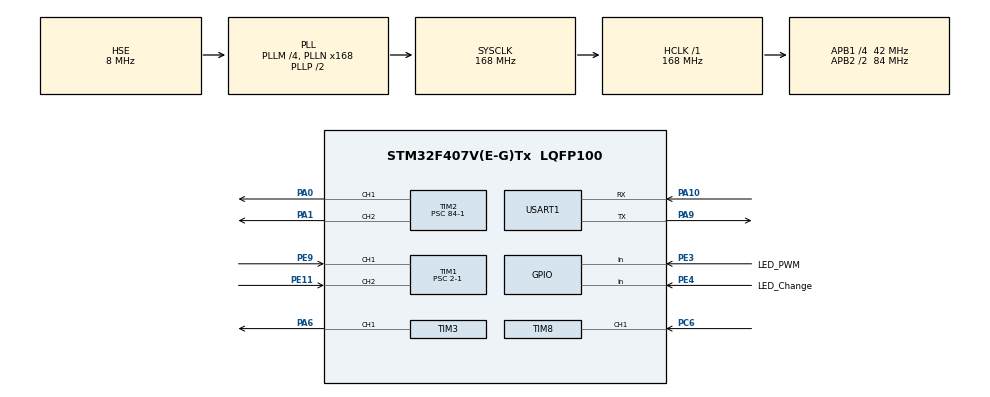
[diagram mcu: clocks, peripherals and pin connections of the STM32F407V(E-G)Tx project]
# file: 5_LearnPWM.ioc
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Dma.Request0=USART1_RX
Dma.Request1=USART1_TX
Dma.USART1_RX.0.Direction=DMA_PERIPH_TO_MEMORY
Dma.USART1_RX.0.FIFOMode=DMA_FIFOMODE_DISABLE
Dma.USART1_RX.0.Instance=DMA2_Stream2
Dma.USART1_RX.0.MemDataAlignment=DMA_MDATAALIGN_BYTE
Dma.USART1_RX.0.MemInc=DMA_MINC_ENABLE
Dma.USART1_RX.0.Mode=DMA_NORMAL
Dma.USART1_RX.0.PeriphDataAlignment=DMA_PDATAALIGN_BYTE
Dma.USART1_RX.0.PeriphInc=DMA_PINC_DISABLE
Dma.USART1_RX.0.Priority=DMA_PRIORITY_LOW
Dma.USART1_TX.1.Direction=DMA_MEMORY_TO_PERIPH
Dma.USART1_TX.1.FIFOMode=DMA_FIFOMODE_DISABLE
Dma.USART1_TX.1.Instance=DMA2_Stream7
Dma.USART1_TX.1.MemDataAlignment=DMA_MDATAALIGN_BYTE
Dma.USART1_TX.1.MemInc=DMA_MINC_ENABLE
Dma.USART1_TX.1.Mode=DMA_NORMAL
Dma.USART1_TX.1.PeriphDataAlignment=DMA_PDATAALIGN_BYTE
Dma.USART1_TX.1.PeriphInc=DMA_PINC_DISABLE
Dma.USART1_TX.1.Priority=DMA_PRIORITY_LOW
Mcu.Family=STM32F4
Mcu.Name=STM32F407V(E-G)Tx
Mcu.Package=LQFP100
NVIC.DMA2_Stream2_IRQn=true\:0\:0\:false\:false\:true\:false\:true\:true
NVIC.DMA2_Stream7_IRQn=true\:0\:0\:false\:false\:true\:false\:true\:true
NVIC.PriorityGroup=NVIC_PRIORITYGROUP_4
NVIC.TIM8_CC_IRQn=true\:0\:0\:false\:false\:true\:true\:true\:true
NVIC.USART1_IRQn=true\:0\:0\:false\:false\:true\:false\:true\:true
PA0-WKUP.Signal=S_TIM2_CH1_ETR
PA1.Signal=S_TIM2_CH2
PA10.Mode=Asynchronous
PA10.Signal=USART1_RX
PA13.Mode=Serial_Wire
PA13.Signal=SYS_JTMS-SWDIO
PA14.Mode=Serial_Wire
PA14.Signal=SYS_JTCK-SWCLK
PA6.Signal=S_TIM3_CH1
PA9.Mode=Asynchronous
PA9.Signal=USART1_TX
PC14-OSC32_IN.Mode=LSE-External-Oscillator
PC14-OSC32_IN.Signal=RCC_OSC32_IN
PC15-OSC32_OUT.Mode=LSE-External-Oscillator
PC15-OSC32_OUT.Signal=RCC_OSC32_OUT
PC6.Signal=S_TIM8_CH1
PE11.Signal=S_TIM1_CH2
PE3.GPIO_Label=LED_PWM
PE3.GPIO_PuPd=GPIO_PULLUP
PE3.Signal=GPIO_Input
PE4.GPIO_Label=LED_Change
PE4.GPIO_PuPd=GPIO_PULLUP
PE4.Signal=GPIO_Input
PE9.Signal=S_TIM1_CH1
PH0-OSC_IN.Mode=HSE-External-Oscillator
PH0-OSC_IN.Signal=RCC_OSC_IN
PH1-OSC_OUT.Mode=HSE-External-Oscillator
PH1-OSC_OUT.Signal=RCC_OSC_OUT
ProjectManager.HeapSize=0x200
ProjectManager.StackSize=0x400
ProjectManager.TargetToolchain=MDK-ARM V5.32
RCC.48MHZClocksFreq_Value=84000000
RCC.AHBFreq_Value=168000000
RCC.APB1CLKDivider=RCC_HCLK_DIV4
RCC.APB1Freq_Value=42000000
RCC.APB1TimFreq_Value=84000000
RCC.APB2CLKDivider=RCC_HCLK_DIV2
RCC.APB2Freq_Value=84000000
RCC.APB2TimFreq_Value=168000000
RCC.CortexFreq_Value=168000000
RCC.HCLKFreq_Value=168000000
RCC.HSE_VALUE=8000000
RCC.HSI_VALUE=16000000
RCC.PLLM=4
RCC.PLLN=168
RCC.PLLSourceVirtual=RCC_PLLSOURCE_HSE
RCC.SYSCLKFreq_VALUE=168000000
RCC.SYSCLKSource=RCC_SYSCLKSOURCE_PLLCLK
RCC.VCOOutputFreq_Value=336000000
SH.S_TIM1_CH1.0=TIM1_CH1,Encoder_Interface
SH.S_TIM1_CH2.0=TIM1_CH2,Encoder_Interface
SH.S_TIM2_CH1_ETR.0=TIM2_CH1,PWM Generation1 CH1
SH.S_TIM2_CH2.0=TIM2_CH2,PWM Generation2 CH2
SH.S_TIM3_CH1.0=TIM3_CH1,PWM Generation1 CH1
SH.S_TIM8_CH1.0=TIM8_CH1,PWM_Input_1
TIM1.IC1Filter=15
TIM1.IC2Filter=15
TIM1.Prescaler=2-1
TIM2.Channel-PWM\ Generation1\ CH1=TIM_CHANNEL_1
TIM2.Channel-PWM\ Generation2\ CH2=TIM_CHANNEL_2
TIM2.Period=100-1
TIM2.Prescaler=84-1
TIM3.Channel-PWM\ Generation1\ CH1=TIM_CHANNEL_1
TIM3.Period=100-1
TIM3.Prescaler=84-1
TIM3.Pulse-PWM\ Generation1\ CH1=20
TIM8.ICFilter_1=15
TIM8.ICFilter_2=15
TIM8.Prescaler=168-1
USART1.VirtualMode=VM_ASYNC
VP_TIM2_VS_ClockSourceINT.Mode=Internal
VP_TIM3_VS_ClockSourceINT.Mode=Internal
board=custom

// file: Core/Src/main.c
/* USER CODE BEGIN Header */
/**
  ******************************************************************************
  * @file           : main.c
  * @brief          : Main program body
  ******************************************************************************
  * @attention
  *
  * Copyright (c) 2025 STMicroelectronics.
  * All rights reserved.
  *
  * This software is licensed under terms that can be found in the LICENSE file
  * in the root directory of this software component.
  * If no LICENSE file comes with this software, it is provided AS-IS.
  *
  ******************************************************************************
  */
/* USER CODE END Header */
#include "main.h"
#include "dma.h"
#include "tim.h"
#include "usart.h"
#include "gpio.h"

/* USER CODE BEGIN Includes */
#include "bsp_printf.h"
#include "bsp_key.h"
#include "bsp_drv8833.h"
#include "test_pwm.h"
/* USER CODE END Includes */

/* USER CODE BEGIN PD */
#define DUTY_CYCLE_MAX 20
#define DUTY_CYCLE_MIN 200
//电机宏定义
#define MID_COUNTER 10
/* USER CODE END PD */

/* USER CODE BEGIN PV */
uint8_t g_u8DutyCycle = 0;
uint8_t g_u8Speed = 0;
uint32_t g_u32TimChannel[2] = {TIM_CHANNEL_1, TIM_CHANNEL_2};
uint8_t g_u8ChannelIndex = 0;
uint32_t g_u32TestFrequence = 0;  // PWM频率
uint8_t g_u8TestDutyCycle = 0;  // PWM占空比
/* USER CODE END PV */

void SystemClock_Config(void);

int main(void)
{

  /* USER CODE BEGIN 1 */
    SCB->VTOR = 0x08020000;
  	__enable_irq();
  /* USER CODE END 1 */

  /* MCU Configuration--------------------------------------------------------*/

  /* Reset of all peripherals, Initializes the Flash interface and the Systick. */
  HAL_Init();

  /* Configure the system clock */
  SystemClock_Config();

  /* Initialize all configured peripherals */
  MX_GPIO_Init();
  MX_DMA_Init();
  MX_USART1_UART_Init();
  MX_TIM1_Init();
  MX_TIM2_Init();
  MX_TIM8_Init();
  MX_TIM3_Init();
  /* USER CODE BEGIN 2 */
  DRV8833_Init();  // 初始化电机驱动
  TEST_PWM_Init();
	HAL_TIM_Encoder_Start(&htim1,TIM_CHANNEL_ALL);  // 启动编码器
  //__HAL_TIM_SET_COUNTER(&htim1, MID_COUNTER);  //
  __HAL_TIM_SET_COUNTER(&htim1, 12);
	HAL_TIM_PWM_Start(&htim3,TIM_CHANNEL_1);
  //__HAL_TIM_SET_COMPARE(&htim3,g_u32TimChannel[g_u8ChannelIndex],g_u8DutyCycle);  // 设置PWM占空比
  //HAL_TIM_PWM_Start(&htim3,g_u32TimChannel[g_u8ChannelIndex]);
	//HAL_TIM_PWM_Start(&htim3,g_u32TimChannel[g_u8ChannelIndex]);  // 启动PWM
  DRV8833_SetDecayMode(SLOW_DECAY);
  //DRV8833_Forward(80);  // 设置电机前进，速度为80

  /* USER CODE END 2 */

  /* Infinite loop */
  /* USER CODE BEGIN WHILE */
  while (1)
  {
    //1.按键控制PWM灯
      // if(KEY_Press(LED_PWM_GPIO_Port,LED_PWM_Pin))
      // {
      //   g_u8DutyCycle += 20;
      //   if(g_u8DutyCycle > 100)
      //     g_u8DutyCycle = 0;
      //     __HAL_TIM_SET_COMPARE(&htim3,g_u32TimChannel[g_u8ChannelIndex],g_u8DutyCycle);
      // }
    //2.编码器控制PWM灯
      // g_u8DutyCycle = __HAL_TIM_GET_COUNTER(&htim1);  // 获取编码器计数值
      // if(g_u8DutyCycle > 100)
      // {
      //   g_u8DutyCycle = 0;
      //   __HAL_TIM_SET_COUNTER(&htim1, 0);
      // }
      // __HAL_TIM_SET_COMPARE(&htim3,g_u32TimChannel[g_u8ChannelIndex],g_u8DutyCycle);  // 设置PWM占空比
			// qDebug("TIM_Chinnal:%d,g_u8DutyCycle:%d",g_u8ChannelIndex,g_u8DutyCycle);
      // if(KEY_Press(LED_Change_GPIO_Port,LED_Change_Pin))
      // {
      //   g_u8DutyCycle = 0;
      //   HAL_TIM_PWM_Stop(&htim3,g_u32TimChannel[g_u8ChannelIndex]);  // 停止PWM
      //   g_u8ChannelIndex = (g_u8ChannelIndex + 1) % 2;
      //   __HAL_TIM_SET_COMPARE(&htim3,g_u32TimChannel[g_u8ChannelIndex],g_u8DutyCycle);
      //   HAL_TIM_PWM_Start(&htim3,g_u32TimChannel[g_u8ChannelIndex]);  // 启动新的PWM
      // }
			// HAL_Delay(100);
    //3.PWM呼吸灯
      // for(int i = 0;i < 100;i++)
      // {
      //     __HAL_TIM_SET_COMPARE(&htim3,TIM_CHANNEL_1,i);
      //     HAL_Delay(10);
      // }
      // for(int i = 99;i > 0;i--)
      // {
      //     __HAL_TIM_SET_COMPARE(&htim3,TIM_CHANNEL_1,i);
      //     HAL_Delay(10);
      // }
    //4.编码器控制舵机
      //此处更改了频率为舵机需要的50HZ，对应的一圈20个脉冲，2个引脚记数应该为40，
      //但是我预分频器为2-1，所以一圈还是20，即0~360°为0~20，则要0~180°对应0~10
//      g_u8DutyCycle = __HAL_TIM_GET_COUNTER(&htim1);  // 获取编码器计数值
//      if(g_u8DutyCycle > DUTY_CYCLE_MIN)    //这里要先判断最大的，因为程序是从上往下执行的
//      {
//        g_u8DutyCycle = 0;
//        __HAL_TIM_SET_COUNTER(&htim1, g_u8DutyCycle);
//      }
//      else if(g_u8DutyCycle > DUTY_CYCLE_MAX)
//      {
//        g_u8DutyCycle = DUTY_CYCLE_MAX;
//        __HAL_TIM_SET_COUNTER(&htim1, DUTY_CYCLE_MAX);
//      }
//
//      qDebug("TIM_Chinnal:%d,g_u8DutyCycle:%d",g_u8ChannelIndex,g_u8DutyCycle);
//      g_u8DutyCycle = g_u8DutyCycle * 20 + 50;
//      __HAL_TIM_SET_COMPARE(&htim3,g_u32TimChannel[g_u8ChannelIndex],g_u8DutyCycle);  // 设置PWM占空比
//      qDebug("g_u8DutyCycle:%.2f%%",(float)g_u8DutyCycle / 2000 * 100); //这里记得转换成浮点数
//      HAL_Delay(10);
    //5.编码器控制电机
      //编码器值获取
      g_u8DutyCycle = __HAL_TIM_GET_COUNTER(&htim1);
      if(g_u8DutyCycle > DUTY_CYCLE_MIN)    //其实这里是对小于0的判断，只不过一小于0就会变成255，
      {                                     //这里要先判断最大的，因为程序是从上往下执行的
        g_u8DutyCycle = 0;
        __HAL_TIM_SET_COUNTER(&htim1, g_u8DutyCycle);
      }
      else if(g_u8DutyCycle > DUTY_CYCLE_MAX)   //此处将DUTY_CYCLE_MAX改成20，因为这次要用到的是编码器360°范围
      {
        g_u8DutyCycle = DUTY_CYCLE_MAX;
        __HAL_TIM_SET_COUNTER(&htim1, DUTY_CYCLE_MAX);
      }
      //速度控制
      if(g_u8DutyCycle < MID_COUNTER)
      {
        g_u8Speed = (MID_COUNTER - g_u8DutyCycle) * 100 / MID_COUNTER;  //将0~9映射到0~100
        DRV8833_Backward(g_u8Speed);
      }
      else{
        g_u8Speed = (g_u8DutyCycle - MID_COUNTER) * 100 / (MID_COUNTER);  //将11~20映射到0~100
        DRV8833_Forward(g_u8Speed);
      }
      TEST_PWM_Get(&g_u32TestFrequence, &g_u8TestDutyCycle);
      qDebug("PWM Speed: %d", g_u8Speed);
      if (g_u32TestFrequence != 0)
      {
        qDebug("PWM_Test Frequency: %d Hz, Duty Cycle: %d%%", g_u32TestFrequence, g_u8TestDutyCycle);
      }
      else
      {
        qDebug("PWM_Test: no signal");
      }
      HAL_Delay(100);
    /* USER CODE END WHILE */

  }
}

void SystemClock_Config(void)
{
  RCC_OscInitTypeDef RCC_OscInitStruct = {0};
  RCC_ClkInitTypeDef RCC_ClkInitStruct = {0};

  /** Configure the main internal regulator output voltage
  */
  __HAL_RCC_PWR_CLK_ENABLE();
  __HAL_PWR_VOLTAGESCALING_CONFIG(PWR_REGULATOR_VOLTAGE_SCALE1);

  /** Initializes the RCC Oscillators according to the specified parameters
  * in the RCC_OscInitTypeDef structure.
  */
  RCC_OscInitStruct.OscillatorType = RCC_OSCILLATORTYPE_HSE;
  RCC_OscInitStruct.HSEState = RCC_HSE_ON;
  RCC_OscInitStruct.PLL.PLLState = RCC_PLL_ON;
  RCC_OscInitStruct.PLL.PLLSource = RCC_PLLSOURCE_HSE;
  RCC_OscInitStruct.PLL.PLLM = 4;
  RCC_OscInitStruct.PLL.PLLN = 168;
  RCC_OscInitStruct.PLL.PLLP = RCC_PLLP_DIV2;
  RCC_OscInitStruct.PLL.PLLQ = 4;
  if (HAL_RCC_OscConfig(&RCC_OscInitStruct) != HAL_OK)
  {
    Error_Handler();
  }

  /** Initializes the CPU, AHB and APB buses clocks
  */
  RCC_ClkInitStruct.ClockType = RCC_CLOCKTYPE_HCLK|RCC_CLOCKTYPE_SYSCLK
                              |RCC_CLOCKTYPE_PCLK1|RCC_CLOCKTYPE_PCLK2;
  RCC_ClkInitStruct.SYSCLKSource = RCC_SYSCLKSOURCE_PLLCLK;
  RCC_ClkInitStruct.AHBCLKDivider = RCC_SYSCLK_DIV1;
  RCC_ClkInitStruct.APB1CLKDivider = RCC_HCLK_DIV4;
  RCC_ClkInitStruct.APB2CLKDivider = RCC_HCLK_DIV2;

  if (HAL_RCC_ClockConfig(&RCC_ClkInitStruct, FLASH_LATENCY_5) != HAL_OK)
  {
    Error_Handler();
  }
}

void Error_Handler(void)
{
  __disable_irq();
  while (1)
  {
  }
}
